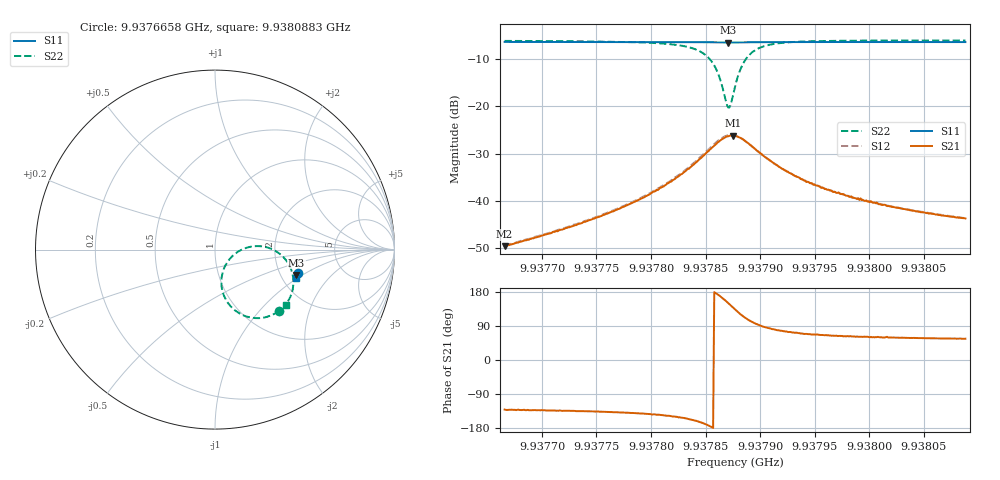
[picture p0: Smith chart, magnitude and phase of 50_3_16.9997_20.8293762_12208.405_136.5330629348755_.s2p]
#  HZ  S  RI  R  50.00
! Rohde & Schwarz Vector Network Analyzer
! Rohde-Schwarz,ZNB20-2Port,1311601062101988,3.16
! Created: UTC 3/20/2024, 10:54:16 PM
! freq[Hz]  re:S11  im:S11  re:S21  im:S21  re:S12  im:S12  re:S22  im:S22
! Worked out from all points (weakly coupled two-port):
!   401 points, 9.9376658 GHz to 9.9380883 GHz, reference 50 ohm
!   highest |S21| = -26.14 dB at 9.9378749 GHz (marker M1); lowest = -49.6 dB at 9.9376658 GHz (marker M2)
!   lowest |S11| = -6.5 dB at 9.9378707 GHz (marker M3), VSWR 2.81, Z = 122 - j44.3 ohm
!   |S11| at or under -10 dB: nowhere
!   |S22| runs from -20.2 to -6.0 dB; largest |S21 - S12| = 0.0033
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9.93766578e9  0.4638 -0.1301  -0.00218 -0.00251  -0.00226 -0.00251  0.3571 -0.3415
9.93773655e9  0.462 -0.135  -0.00412 -0.00413  -0.00428 -0.00416  0.3355 -0.3557
9.93777669e9  0.4608 -0.1379  -0.00671 -0.00582  -0.00693 -0.00583  0.3107 -0.3674
9.93780732e9  0.4595 -0.1402  -0.0108 -0.00781  -0.0114 -0.00771  0.2717 -0.3787
9.93783478e9  0.4578 -0.1423  -0.02 -0.00885  -0.021 -0.00885  0.1924 -0.377
9.93785063e9  0.4561 -0.1433  -0.0317 -0.00565  -0.0331 -0.00478  0.1015 -0.3303
9.93785591e9  0.4554 -0.1433  -0.0366 -0.00168  -0.0381 -7.29e-05  0.0662 -0.2884
9.93786013e9  0.4546 -0.143  -0.0403 0.00347  -0.0418 0.00553  0.0437 -0.2392
9.93786542e9  0.4539 -0.1423  -0.0434 0.0127  -0.0443 0.0154  0.0368 -0.1572
9.93786858e9  0.4537 -0.1417  -0.0434 0.0193  -0.0433 0.0224  0.051 -0.1028
9.9378707e9  0.4536 -0.1413  -0.042 0.0238  -0.0417 0.0271  0.0699 -0.0684
9.93787281e9  0.4539 -0.1407  -0.0401 0.0285  -0.0393 0.0314  0.0957 -0.0374
9.93787492e9  0.454 -0.1404  -0.0372 0.0324  -0.0358 0.0351  0.1267 -0.0126
9.93787704e9  0.4543 -0.1401  -0.0337 0.0354  -0.0318 0.0379  0.1618 0.00533
9.93788126e9  0.4552 -0.1399  -0.0254 0.0396  -0.0233 0.041  0.2337 0.0196
9.93788549e9  0.4557 -0.1397  -0.0173 0.0404  -0.0151 0.0412  0.2976 0.0101
9.93789605e9  0.4573 -0.1408  -0.0036 0.0349  -0.00202 0.0349  0.3934 -0.0561
9.93791823e9  0.4581 -0.1435  0.00496 0.0222  0.00547 0.0219  0.4367 -0.1691
9.93794781e9  0.4576 -0.1464  0.00596 0.0141  0.00606 0.0139  0.4296 -0.2349
9.93798161e9  0.4568 -0.149  0.00517 0.0098  0.00536 0.00996  0.4175 -0.2679
9.93801858e9  0.4558 -0.1517  0.00448 0.00755  0.00466 0.00752  0.4072 -0.2869
9.93808829e9  0.454 -0.1563  0.00363 0.00542  0.00376 0.00538  0.3943 -0.3064
